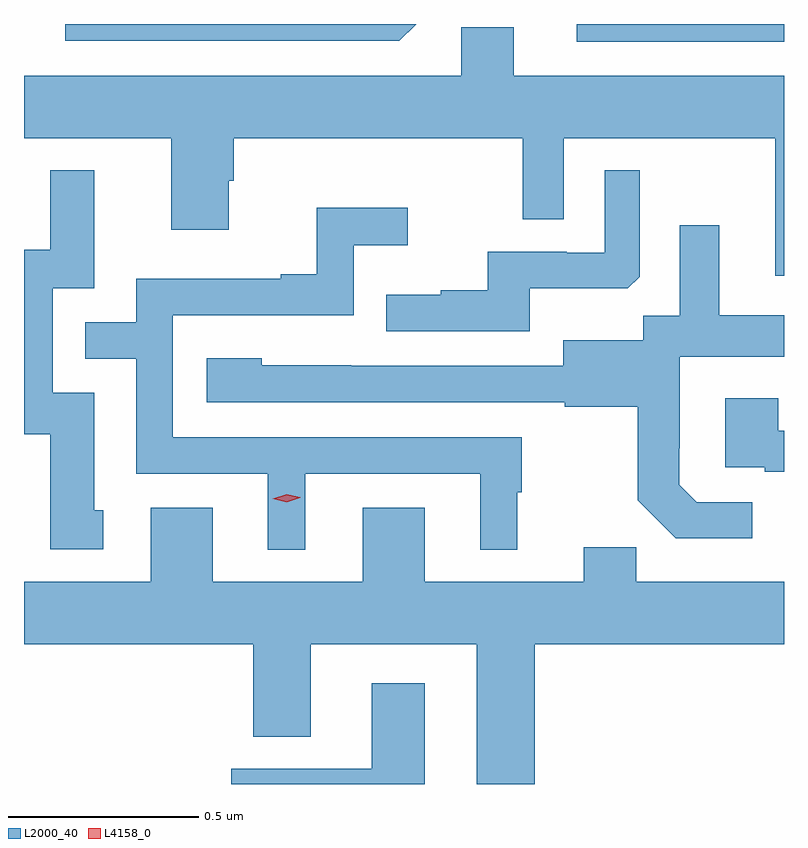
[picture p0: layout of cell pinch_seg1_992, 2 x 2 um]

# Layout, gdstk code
import gdstk
lib = gdstk.Library(unit=1e-6, precision=1e-09)
def R(c, l, rs):  # rectangles x0, y0, x1, y1
    for r in rs: c.add(gdstk.rectangle(r[:2], r[2:], *l))
def P(c, l, *ps):  # polygons
    for p in ps: c.add(gdstk.Polygon(p, *l))
L2000_40 = (2000, 40)
L4158_0 = (4158, 0)

pinch_seg1_992 = lib.new_cell('pinch_seg1_992')
R(pinch_seg1_992, L2000_40, [(222.647,510.693,223.192,510.74)])
P(pinch_seg1_992, L2000_40, [(222.224,510.74),(221.301,510.74),(221.301,510.696),(222.18,510.696)],
  [(223.192,510.604),(222.481,510.604),(222.481,510.731),(222.342,510.731),(222.342,510.604),(221.192,510.604),(221.192,510.44),(221.579,510.44),(221.579,510.198),(221.731,510.198),(221.731,510.327),(221.744,510.327),(221.744,510.44),(222.504,510.44),(222.504,510.226),(222.612,510.226),(222.612,510.44),(223.169,510.44),(223.169,510.078),(223.192,510.078)],
  [(222.523,510.044),(222.781,510.044),(222.813,510.075),(222.813,510.355),(222.72,510.355),(222.72,510.138),(222.62,510.138),(222.62,510.141),(222.413,510.141),(222.413,510.04),(222.289,510.04),(222.289,510.028),(222.145,510.028),(222.145,509.931),(222.523,509.931)],
  [(221.401,509.46),(221.377,509.46),(221.377,509.769),(221.268,509.769),(221.268,510.045),(221.377,510.045),(221.377,510.355),(221.261,510.355),(221.261,510.146),(221.192,510.146),(221.192,509.661),(221.261,509.661),(221.261,509.358),(221.401,509.358)],
  [(221.932,509.556),(222.392,509.556),(222.392,509.357),(222.49,509.357),(222.49,509.508),(222.502,509.508),(222.502,509.652),(221.583,509.652),(221.583,509.973),(222.06,509.973),(222.06,510.158),(222.202,510.158),(222.202,510.257),(221.962,510.257),(221.962,510.082),(221.867,510.082),(221.867,510.069),(221.487,510.069),(221.487,509.955),(221.353,509.955),(221.353,509.859),(221.487,509.859),(221.487,509.556),(221.834,509.556),(221.834,509.357),(221.932,509.357)],
  [(223.108,509.481),(222.963,509.481),(222.916,509.528),(222.916,509.623),(222.918,509.623),(222.918,509.864),(223.192,509.864),(223.192,509.974),(223.021,509.974),(223.021,510.211),(222.917,510.211),(222.917,509.972),(222.822,509.972),(222.822,509.908),(222.611,509.908),(222.611,509.841),(222.053,509.841),(222.053,509.842),(221.817,509.842),(221.817,509.86),(221.673,509.86),(221.673,509.745),(222.615,509.745),(222.615,509.733),(222.807,509.733),(222.807,509.487),(222.907,509.387),(223.108,509.387)],
  [(223.192,509.67),(223.177,509.67),(223.177,509.755),(223.037,509.755),(223.037,509.574),(223.141,509.574),(223.141,509.562),(223.192,509.562)],
  [(222.083,509.467),(222.083,509.272),(221.689,509.272),(221.689,509.467),(221.525,509.467),(221.525,509.272),(221.192,509.272),(221.192,509.108),(221.795,509.108),(221.795,508.865),(221.947,508.865),(221.947,509.108),(222.383,509.108),(222.383,508.74),(222.536,508.74),(222.536,509.108),(223.192,509.108),(223.192,509.272),(222.803,509.272),(222.803,509.363),(222.665,509.363),(222.665,509.272),(222.247,509.272),(222.247,509.467)],
  [(222.247,509.005),(222.107,509.005),(222.107,508.78),(221.738,508.78),(221.738,508.74),(222.247,508.74)])
P(pinch_seg1_992, L4158_0, [(221.883,509.482),(221.847,509.491),(221.847,509.491),(221.847,509.491),(221.883,509.502),(221.919,509.494),(221.919,509.493),(221.919,509.493)])

lib.write_gds('pinch_seg1_992.gds')
